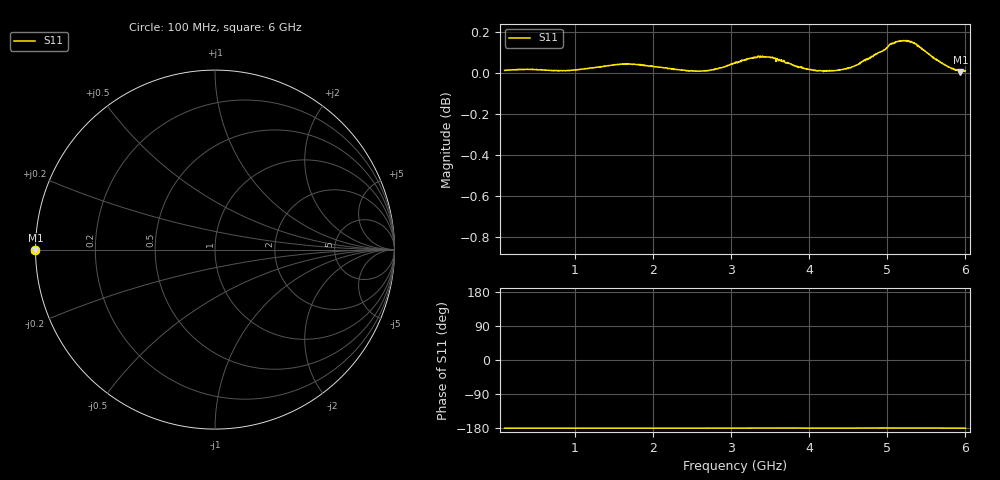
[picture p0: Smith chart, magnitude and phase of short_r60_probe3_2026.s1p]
! Created with skrf 1.12.0 (http://scikit-rf.org).
# Hz S RI R 50.0
!freq ReS11 ImS11
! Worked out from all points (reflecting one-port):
!   1181 points, 100 MHz to 6 GHz, reference 50 ohm
!   lowest |S11| = 0.0 dB at 5.935 GHz (marker M1)
!   phase of S11 starts at -180 deg and turns -0 deg over the sweep
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1e8  -1.001 -0.00187
4.1e8  -1.002 -0.0027
8.4e8  -1.001 -0.00138
1.08e9  -1.002 -0.0023
1.575e9  -1.005 -0.00796
1.82e9  -1.005 -0.00959
2.315e9  -1.002 -0.00342
2.69e9  -1.001 -0.00121
2.82e9  -1.002 -0.00289
3.05e9  -1.005 -0.00729
3.335e9  -1.009 -0.0122
3.52e9  -1.009 -0.0148
3.595e9  -1.008 -0.0147
3.79e9  -1.004 -0.00956
3.975e9  -1.002 -0.00482
4.205e9  -1.001 -0.00219
4.38e9  -1.002 -0.00204
4.525e9  -1.003 -0.00431
4.74e9  -1.007 -0.0101
4.95e9  -1.013 -0.0134
5.045e9  -1.016 -0.0151
5.13e9  -1.018 -0.0161
5.265e9  -1.018 -0.0178
5.35e9  -1.016 -0.0172
5.425e9  -1.014 -0.0153
5.73e9  -1.005 -0.00543
5.935e9  -1 -0.00145
6e9  -1.001 -0.00142
